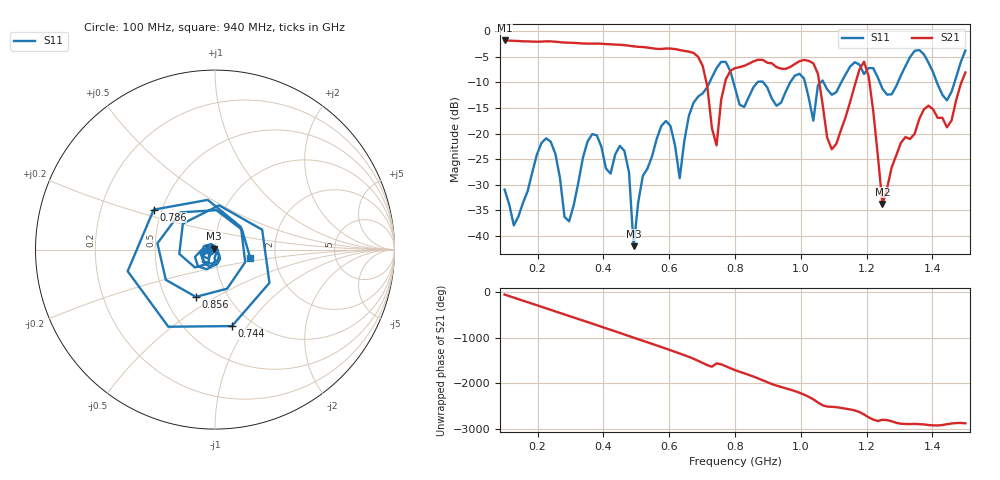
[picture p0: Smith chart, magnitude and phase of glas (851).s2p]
! NanoVNA-App
! Date: 2025-09-25 16:02:06
! Start: 100MHz Stop: 1,5GHz Points: 101
! S-Parameter data: F S11 S21 S12 S22
# Hz S RI R 50
!  Frequency  S11_Real  S11_Imag  S21_Real  S21_Imag  S12_Real  S12_Imag  S22_Real  S22_Imag
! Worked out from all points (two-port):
!   101 points, 100 MHz to 1.5 GHz, reference 50 ohm
!   highest |S21| = -1.80 dB at 100 MHz (marker M1); lowest = -33.7 dB at 1.248 GHz (marker M2)
!   |S21| within 3 dB of the highest: start of sweep to 684.5 MHz
!   lowest |S11| = -42.0 dB at 492 MHz (marker M3), VSWR 1.02, Z = 49.5 + j0.598 ohm
!   |S11| at or under -10 dB: start of sweep to 722.6 MHz; 795.5 MHz to 868.1 MHz (72.61 MHz wide, 8.73 % of centre); 886.1 MHz to 967.6 MHz (81.43 MHz wide, 8.79 % of centre) (the widest 3 of 7)
!   S12 and S22 are empty: the file has one direction only
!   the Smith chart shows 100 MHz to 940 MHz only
!   S11 on the Smith chart (normalised r, x): 100 MHz: 0.94, -0.01; 744 MHz: 0.81, -0.85; 786 MHz: 0.45, +0.24; 856 MHz: 0.71, -0.41; 940 MHz: 1.48, -0.14
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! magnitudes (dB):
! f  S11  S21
! 100 MHz  -30.9  -1.8
! 128 MHz  -37.9  -1.9
! 226 MHz  -20.9  -2.0
! 296 MHz  -37.1  -2.2
! 338 MHz  -24.7  -2.4
! 464 MHz  -23.4  -2.7
! 492 MHz  -42.0  -3.0
! 576 MHz  -18.5  -3.5
! 632 MHz  -28.7  -3.7
! 702 MHz  -12.1  -6.8
! 744 MHz  -7.2  -22.3
! 786 MHz  -7.8  -7.7
! 800 MHz  -11.1  -7.2
! 856 MHz  -10.9  -5.9
! 940 MHz  -13.9  -7.3
! 996 MHz  -8.3  -5.8
! 1.038 GHz  -17.5  -6.3
! 1.094 GHz  -12.4  -23.1
! 1.192 GHz  -8.4  -5.9
! 1.248 GHz  -11.2  -33.7
! 1.276 GHz  -12.3  -26.6
! 1.5 GHz  -3.8  -8.1
